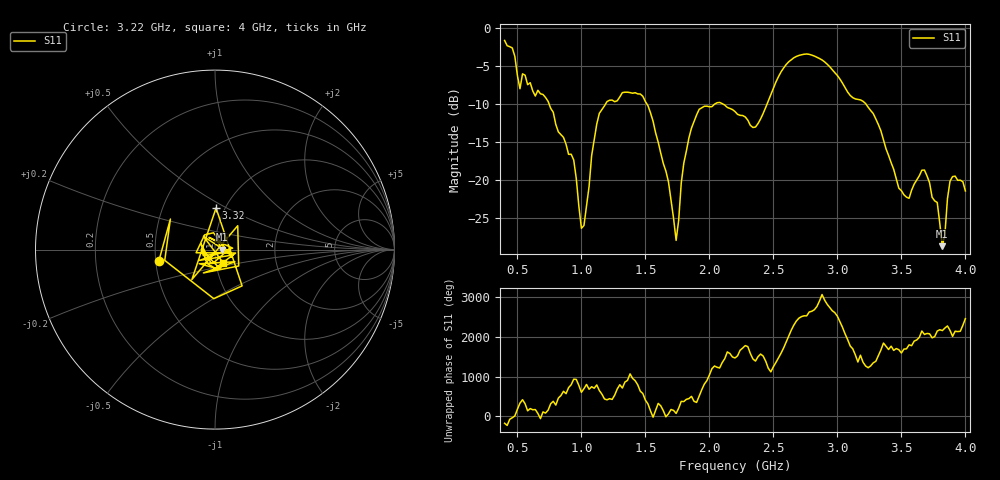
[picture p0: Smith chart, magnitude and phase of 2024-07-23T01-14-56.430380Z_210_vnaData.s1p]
!Created with skrf (http://scikit-rf.org).
# Hz S RI R 50.0
!freq ReS11 ImS11
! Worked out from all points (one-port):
!   181 points, 400 MHz to 4 GHz, reference 50 ohm
!   lowest |S11| = -28.7 dB at 3.82 GHz (marker M1), VSWR 1.08, Z = 53.8 + j0.034 ohm
!   |S11| at or under -10 dB: 747.3 MHz to 1.189 GHz (441.6 MHz wide, 45.6 % of centre); 1.512 GHz to 2.043 GHz (531.8 MHz wide, 29.9 % of centre); 3.223 GHz to end of sweep (the widest 3 of 4)
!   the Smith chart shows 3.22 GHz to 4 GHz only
!   S11 on the Smith chart (normalised r, x): 3.22 GHz: 0.52, -0.07; 3.32 GHz: 0.91, +0.44; 4 GHz: 1.08, -0.16
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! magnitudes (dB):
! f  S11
! 400 MHz  -1.7
! 460 MHz  -2.7
! 520 MHz  -8.0
! 700 MHz  -8.8
! 860 MHz  -14.4
! 940 MHz  -17.4
! 1 GHz  -26.3
! 1.14 GHz  -11.2
! 1.3 GHz  -9.1
! 1.52 GHz  -10.2
! 1.68 GHz  -20.2
! 1.74 GHz  -27.9
! 1.76 GHz  -25.2
! 1.8 GHz  -17.8
! 1.92 GHz  -10.7
! 2.2 GHz  -11.0
! 2.36 GHz  -13.0
! 2.66 GHz  -3.9
! 2.88 GHz  -4.2
! 3.1 GHz  -8.9
! 3.22 GHz  -9.9
! 3.32 GHz  -12.7
! 3.56 GHz  -22.4
! 3.68 GHz  -18.7
! 3.78 GHz  -22.9
! 3.82 GHz  -28.7
! 3.88 GHz  -20.1
! 4 GHz  -21.4
